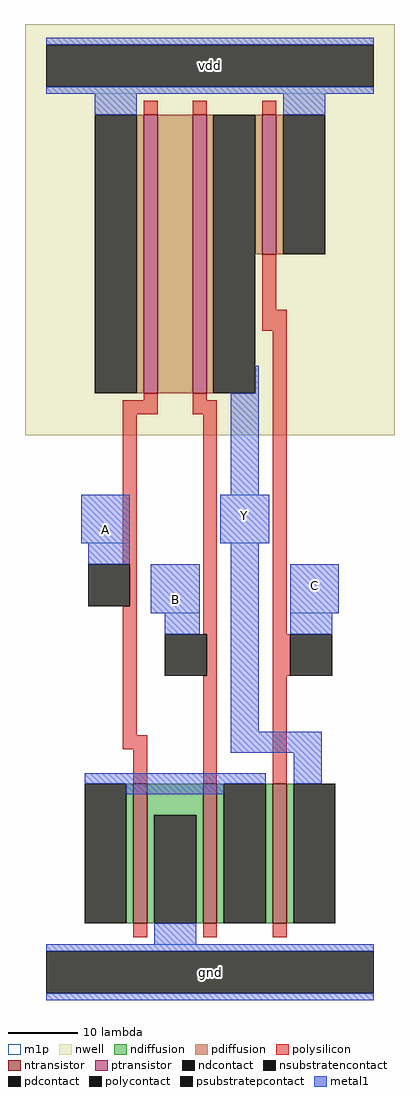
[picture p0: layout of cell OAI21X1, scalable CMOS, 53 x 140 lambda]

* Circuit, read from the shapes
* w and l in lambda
.subckt OAI21X1 A B C Y vdd gnd
M1 gnd A n1 gnd nfet w=20 l=2
M2 n1 B gnd gnd nfet w=20 l=2
M3 Y C n1 gnd nfet w=20 l=2
M4 n2 A vdd vdd pfet w=40 l=2
M5 Y B n2 vdd pfet w=40 l=2
M6 vdd C Y vdd pfet w=20 l=2
.ends

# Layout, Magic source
magic
tech scmos
magscale 1 2
<< nwell >>
rect -13 154 93 272
<< ntransistor >>
rect 18 14 22 54
rect 38 14 42 54
rect 58 14 62 54
<< ptransistor >>
rect 21 166 25 246
rect 35 166 39 246
rect 55 206 59 246
<< ndiffusion >>
rect 16 14 18 54
rect 22 45 38 54
rect 22 14 24 45
rect 36 14 38 45
rect 42 14 44 54
rect 56 14 58 54
rect 62 14 64 54
<< pdiffusion >>
rect 19 166 21 246
rect 25 166 35 246
rect 39 166 41 246
rect 53 206 55 246
rect 59 206 61 246
<< ndcontact >>
rect 4 14 16 54
rect 24 14 36 45
rect 44 14 56 54
rect 64 14 76 54
<< pdcontact >>
rect 7 166 19 246
rect 41 166 53 246
rect 61 206 73 246
<< psubstratepcontact >>
rect -7 -6 87 6
<< nsubstratencontact >>
rect -7 254 87 266
<< polysilicon >>
rect 21 246 25 250
rect 35 246 39 250
rect 55 246 59 250
rect 55 190 59 206
rect 55 184 62 190
rect 21 164 25 166
rect 15 160 25 164
rect 35 164 39 166
rect 35 160 42 164
rect 15 117 19 160
rect 17 105 19 117
rect 15 68 19 105
rect 38 97 42 160
rect 39 85 42 97
rect 15 64 22 68
rect 18 54 22 64
rect 38 54 42 85
rect 58 97 62 184
rect 58 85 63 97
rect 58 54 62 85
rect 18 10 22 14
rect 38 10 42 14
rect 58 10 62 14
<< polycontact >>
rect 5 105 17 117
rect 27 85 39 97
rect 63 85 75 97
<< metal1 >>
rect -7 266 87 268
rect -7 252 87 254
rect 7 246 19 252
rect 61 246 73 252
rect 53 166 54 174
rect 46 137 54 166
rect 3 123 17 137
rect 43 123 57 137
rect 5 117 17 123
rect 23 103 37 117
rect 27 97 37 103
rect 46 69 54 123
rect 63 103 77 117
rect 63 97 75 103
rect 46 63 72 69
rect 4 54 56 57
rect 16 51 44 54
rect 64 54 72 63
rect 24 8 36 14
rect -7 6 87 8
rect -7 -8 87 -6
<< m1p >>
rect -7 252 87 268
rect 3 123 17 137
rect 43 123 57 137
rect 23 103 37 117
rect 63 103 77 117
rect -7 -8 87 8
<< labels >>
rlabel nsubstratencontact 40 260 40 260 0 vdd
port 5 nsew power bidirectional abutment
rlabel psubstratepcontact 40 0 40 0 0 gnd
port 6 nsew ground bidirectional abutment
rlabel metal1 10 127 10 127 0 A
port 1 nsew signal input
rlabel metal1 50 131 50 131 0 Y
port 4 nsew signal output
rlabel metal1 30 107 30 107 0 B
port 2 nsew signal input
rlabel metal1 70 111 70 111 0 C
port 3 nsew signal input
<< properties >>
string FIXED_BBOX 0 0 80 260
string LEFclass CORE
string LEFsite core
string LEFsymmetry X Y
<< end >>
